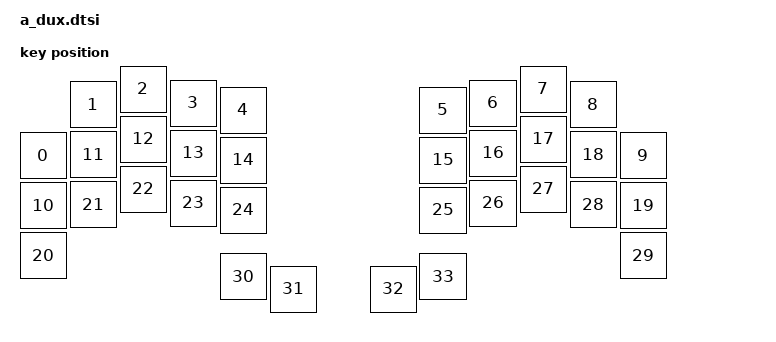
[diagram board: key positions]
// a_dux (tomsxor / The_Royal). 34-key minimal split: 3 rows × 5 cols per
// hand + 2 thumbs per hand. No rotated keys.
// Adapted from upstream ZMK firmware:
//   app/boards/shields/a_dux/a_dux-layouts.dtsi
// Stripped of #includes and SPDX header.

/ {
    a_dux_layout: a_dux_layout {
        compatible = "zmk,physical-layout";
        display-name = "Default";

        keys  //                     w   h    x    y     rot    rx    ry
            = <&key_physical_attrs 100 100    0  133       0     0     0>
            , <&key_physical_attrs 100 100  100   31       0     0     0>
            , <&key_physical_attrs 100 100  200    0       0     0     0>
            , <&key_physical_attrs 100 100  300   28       0     0     0>
            , <&key_physical_attrs 100 100  400   42       0     0     0>
            , <&key_physical_attrs 100 100  800   42       0     0     0>
            , <&key_physical_attrs 100 100  900   28       0     0     0>
            , <&key_physical_attrs 100 100 1000    0       0     0     0>
            , <&key_physical_attrs 100 100 1100   31       0     0     0>
            , <&key_physical_attrs 100 100 1200  133       0     0     0>
            , <&key_physical_attrs 100 100    0  233       0     0     0>
            , <&key_physical_attrs 100 100  100  131       0     0     0>
            , <&key_physical_attrs 100 100  200  100       0     0     0>
            , <&key_physical_attrs 100 100  300  128       0     0     0>
            , <&key_physical_attrs 100 100  400  142       0     0     0>
            , <&key_physical_attrs 100 100  800  142       0     0     0>
            , <&key_physical_attrs 100 100  900  128       0     0     0>
            , <&key_physical_attrs 100 100 1000  100       0     0     0>
            , <&key_physical_attrs 100 100 1100  131       0     0     0>
            , <&key_physical_attrs 100 100 1200  233       0     0     0>
            , <&key_physical_attrs 100 100    0  333       0     0     0>
            , <&key_physical_attrs 100 100  100  231       0     0     0>
            , <&key_physical_attrs 100 100  200  200       0     0     0>
            , <&key_physical_attrs 100 100  300  228       0     0     0>
            , <&key_physical_attrs 100 100  400  242       0     0     0>
            , <&key_physical_attrs 100 100  800  242       0     0     0>
            , <&key_physical_attrs 100 100  900  228       0     0     0>
            , <&key_physical_attrs 100 100 1000  200       0     0     0>
            , <&key_physical_attrs 100 100 1100  231       0     0     0>
            , <&key_physical_attrs 100 100 1200  333       0     0     0>
            , <&key_physical_attrs 100 100  400  375       0     0     0>
            , <&key_physical_attrs 100 100  500  400       0     0     0>
            , <&key_physical_attrs 100 100  700  400       0     0     0>
            , <&key_physical_attrs 100 100  800  375       0     0     0>
            ;
    };
};
